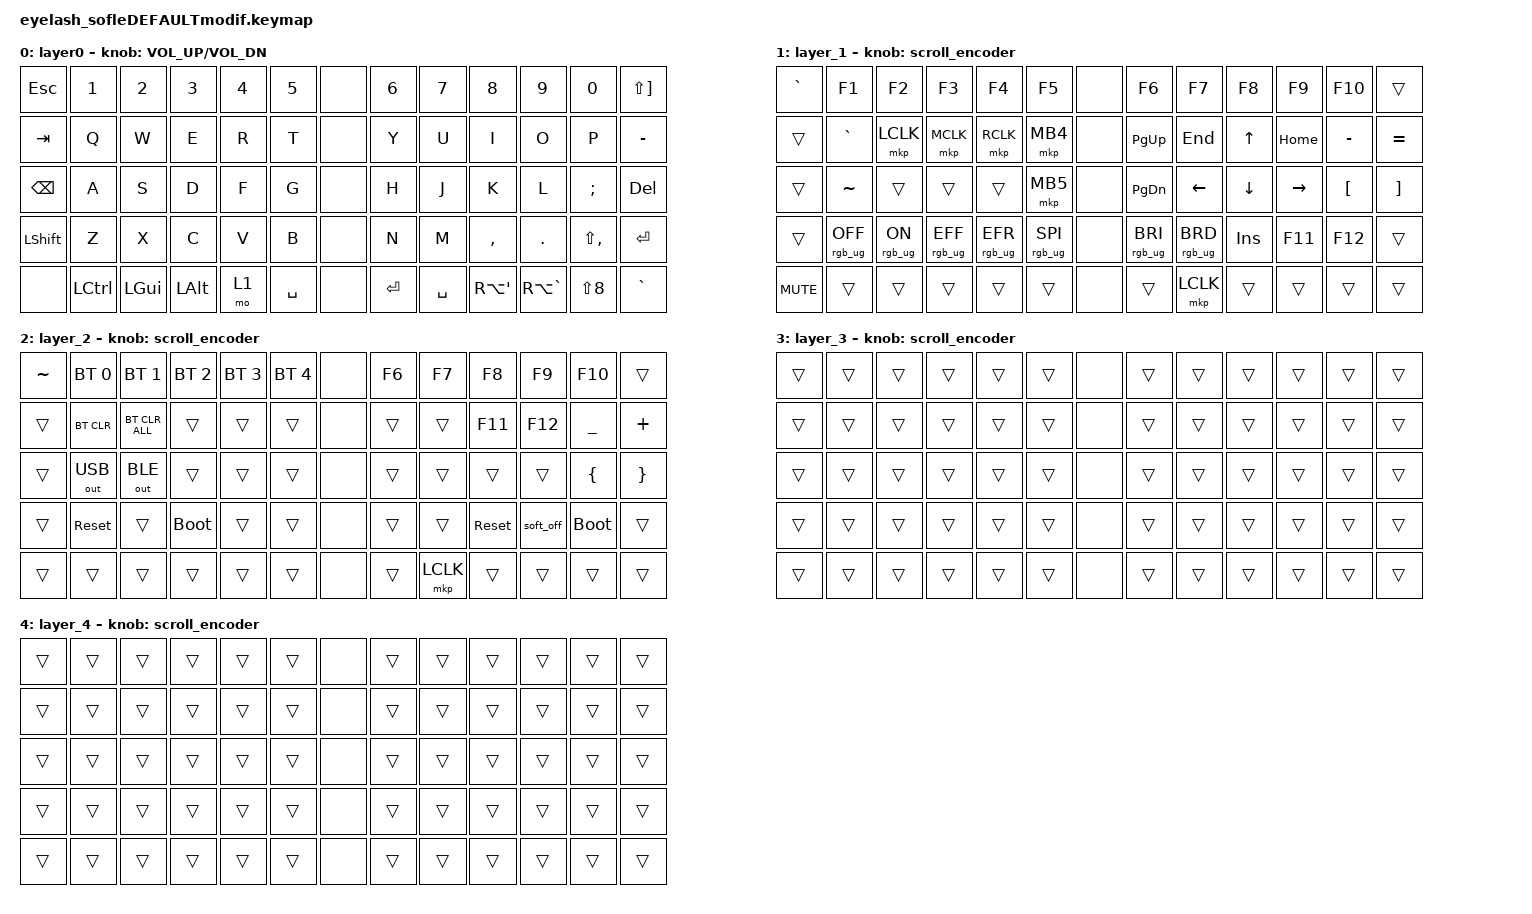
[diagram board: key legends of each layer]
#define ZMK_POINTING_DEFAULT_MOVE_VAL 1200
#define ZMK_POINTING_DEFAULT_SCRL_VAL 25

#include <input/processors.dtsi>
#include <zephyr/dt-bindings/input/input-event-codes.h>
#include <behaviors.dtsi>
#include <dt-bindings/zmk/bt.h>
#include <dt-bindings/zmk/keys.h>
#include <dt-bindings/zmk/outputs.h>
#include <dt-bindings/zmk/pointing.h>
#include <dt-bindings/zmk/rgb.h>

&mmv_input_listener { input-processors = <&zip_xy_scaler 2 1>; };
&msc_input_listener { input-processors = <&zip_scroll_scaler 2 1>; };

&msc {
    acceleration-exponent = <1>;
    time-to-max-speed-ms = <100>;
    delay-ms = <0>;
};

&mmv {
    time-to-max-speed-ms = <500>;
    acceleration-exponent = <1>;
    trigger-period-ms = <16>;
};

&soft_off { hold-time-ms = <2000>; };

/ {
    scroll_encoder: scroll_encoder {
        compatible = "zmk,behavior-sensor-rotate";
        #sensor-binding-cells = <0>;
        bindings = <&msc SCRL_DOWN>, <&msc SCRL_UP>;
        tap-ms = <100>;
    };

    behaviors {
    };

    combos {
        compatible = "zmk,combos";
        softoff {
            bindings = <&soft_off>;
            key-positions = <14 28 40>;
        };
    };

    macros {
        SHIFT_MCLK: SHIFT_MCLK {
            compatible = "zmk,behavior-macro";
            #binding-cells = <0>;
            bindings =
                <&macro_press>,
                <&kp LEFT_SHIFT>,
                <&macro_press>,
                <&mkp MB3>,
                <&macro_pause_for_release>,
                <&macro_release>,
                <&kp LEFT_SHIFT &mkp MB3>;
            label = "SHIFT_MCLK";
        };
    };

    keymap {
        compatible = "zmk,keymap";

        layer0 {
            bindings = <
                &kp ESC  &kp N1  &kp N2  &kp N3  &kp N4  &kp N5  &none  &kp N6  &kp N7  &kp N8  &kp N9  &kp N0  &kp LS(RBKT)
                &kp TAB  &kp Q  &kp W  &kp E  &kp R  &kp T  &none  &kp Y  &kp U  &kp I  &kp O  &kp P  &kp MINUS
                &kp BSPC  &kp A  &kp S  &kp D  &kp F  &kp G  &none  &kp H  &kp J  &kp K  &kp L  &kp SEMI  &kp DEL
                &kp LSHFT  &kp Z  &kp X  &kp C  &kp V  &kp B  &none  &kp N  &kp M  &kp COMMA  &kp DOT  &kp LS(COMMA)  &kp ENTER
                &none  &kp LCTRL  &kp LGUI  &kp LALT  &mo 1  &kp SPACE  &none  &kp ENTER  &kp SPACE  &kp RA(APOS)  &kp RA(GRAVE)  &kp LS(N8)  &kp GRAVE
            >;
            sensor-bindings = <&inc_dec_kp C_VOL_UP C_VOL_DN>;
            // Joystick: UP=&kp UP_ARROW DOWN=&kp DOWN_ARROW LEFT=&kp LEFT_ARROW RIGHT=&kp RIGHT_ARROW CLICK=&mkp LCLK
        };

        layer_1 {
            bindings = <
                &kp GRAVE  &kp F1  &kp F2  &kp F3  &kp F4  &kp F5  &none  &kp F6  &kp F7  &kp F8  &kp F9  &kp F10  &trans
                &trans  &kp GRAVE  &mkp LCLK  &mkp MCLK  &mkp RCLK  &mkp MB4  &none  &kp PG_UP  &kp END  &kp UP  &kp HOME  &kp MINUS  &kp EQUAL
                &trans  &kp TILDE  &trans  &trans  &trans  &mkp MB5  &none  &kp PG_DN  &kp LEFT  &kp DOWN  &kp RIGHT  &kp LBKT  &kp RBKT
                &trans  &rgb_ug RGB_OFF  &rgb_ug RGB_ON  &rgb_ug RGB_EFF  &rgb_ug RGB_EFR  &rgb_ug RGB_SPI  &none  &rgb_ug RGB_BRI  &rgb_ug RGB_BRD  &kp INSERT  &kp F11  &kp F12  &trans
                &kp C_MUTE  &trans  &trans  &trans  &trans  &trans  &none  &trans  &mkp LCLK  &trans  &trans  &trans  &trans
            >;
            sensor-bindings = <&scroll_encoder>;
            // Joystick: UP=&mmv MOVE_UP DOWN=&mmv MOVE_DOWN LEFT=&mmv MOVE_LEFT RIGHT=&mmv MOVE_RIGHT CLICK=&mkp LCLK
        };

        layer_2 {
            bindings = <
                &kp TILDE  &bt BT_SEL 0  &bt BT_SEL 1  &bt BT_SEL 2  &bt BT_SEL 3  &bt BT_SEL 4  &none  &kp F6  &kp F7  &kp F8  &kp F9  &kp F10  &trans
                &trans  &bt BT_CLR  &bt BT_CLR_ALL  &trans  &trans  &trans  &none  &trans  &trans  &kp F11  &kp F12  &kp UNDER  &kp PLUS
                &trans  &out OUT_USB  &out OUT_BLE  &trans  &trans  &trans  &none  &trans  &trans  &trans  &trans  &kp LBRC  &kp RBRC
                &trans  &sys_reset  &trans  &bootloader  &trans  &trans  &none  &trans  &trans  &sys_reset  &soft_off  &bootloader  &trans
                &trans  &trans  &trans  &trans  &trans  &trans  &none  &trans  &mkp LCLK  &trans  &trans  &trans  &trans
            >;
            sensor-bindings = <&scroll_encoder>;
            // Joystick: UP=&mmv MOVE_UP DOWN=&mmv MOVE_DOWN LEFT=&mmv MOVE_LEFT RIGHT=&mmv MOVE_RIGHT CLICK=&mkp LCLK
        };

        layer_3 {
            bindings = <
                &trans  &trans  &trans  &trans  &trans  &trans  &none  &trans  &trans  &trans  &trans  &trans  &trans
                &trans  &trans  &trans  &trans  &trans  &trans  &none  &trans  &trans  &trans  &trans  &trans  &trans
                &trans  &trans  &trans  &trans  &trans  &trans  &none  &trans  &trans  &trans  &trans  &trans  &trans
                &trans  &trans  &trans  &trans  &trans  &trans  &none  &trans  &trans  &trans  &trans  &trans  &trans
                &trans  &trans  &trans  &trans  &trans  &trans  &none  &trans  &trans  &trans  &trans  &trans  &trans
            >;
            sensor-bindings = <&scroll_encoder>;
            // Joystick: UP=&mmv MOVE_UP DOWN=&mmv MOVE_DOWN LEFT=&mmv MOVE_LEFT RIGHT=&mmv MOVE_RIGHT CLICK=&mkp LCLK
        };

        layer_4 {
            bindings = <
                &trans  &trans  &trans  &trans  &trans  &trans  &none  &trans  &trans  &trans  &trans  &trans  &trans
                &trans  &trans  &trans  &trans  &trans  &trans  &none  &trans  &trans  &trans  &trans  &trans  &trans
                &trans  &trans  &trans  &trans  &trans  &trans  &none  &trans  &trans  &trans  &trans  &trans  &trans
                &trans  &trans  &trans  &trans  &trans  &trans  &none  &trans  &trans  &trans  &trans  &trans  &trans
                &trans  &trans  &trans  &trans  &trans  &trans  &none  &trans  &trans  &trans  &trans  &trans  &trans
            >;
            sensor-bindings = <&scroll_encoder>;
            // Joystick: UP=&mmv MOVE_UP DOWN=&mmv MOVE_DOWN LEFT=&mmv MOVE_LEFT RIGHT=&mmv MOVE_RIGHT CLICK=&mkp LCLK
        };

    };
};
